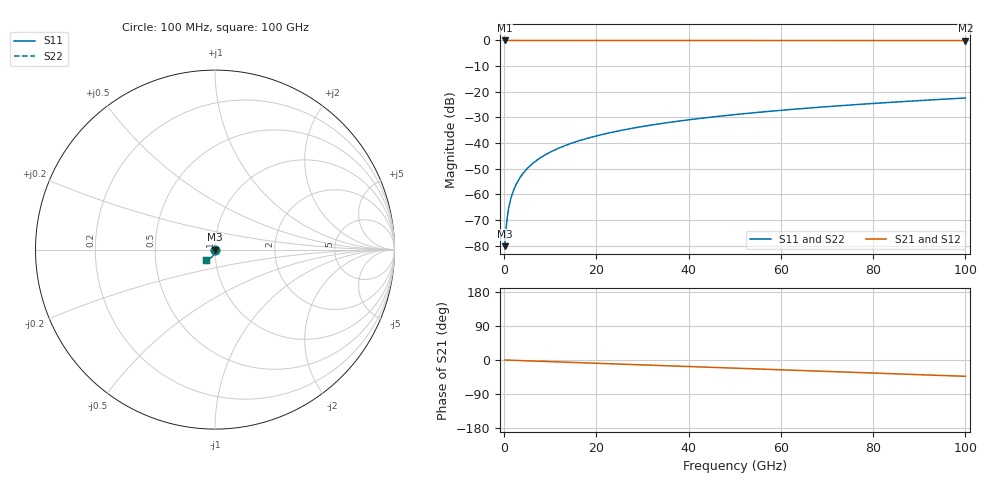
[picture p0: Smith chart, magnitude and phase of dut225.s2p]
! Touchstone file exported from HFSS 2026.1.0
!  File:  C:/ffzhzh/LocalFiles/Ansys_Project_Files/temp_train_TSV_225_1783507885_41296.aedt
!  Generated:  06:52:40 PM Jul  8, 2026
!  Design:  TSV
!  Project:  temp_train_TSV_225_1783507885_41296
! Variables:
!  h_bsmrdl = 2um
!  h_ox = 20um
!  h_rdl = 5um
!  h_sub = 86.87um
!  h_tmrdl = 5um
!  h_tsv = 86.87um
!  h_via = 3um
!  l_bsmrdl = 300um
!  l_sub = 425.52um
!  l_tmrdl = 200um
!  m_sub = 200um
!  pitch = 46.78um
!  r_tsv = 12.76um
!  s_tmrdl = 10um
!  w_bsmrdl = 18um
!  w_sub = 500um
!  w_tmrdl = 12um
!  x_tsv_center1 = 206um
!  x_tsv_center2 = 524um
!  x_tsv_center3 = 736um
!  x_tsv_center4 = 1054um
!  x_tsv_center5 = 1266um
!  x_tsv_center6 = 1584um
# GHz S MA R 50.000000
! Terminal data exported
! Port[1] = TSV1_1_T1
! Port[2] = TSV1_1_T2
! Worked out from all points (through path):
!   1000 points, 100 MHz to 100 GHz, reference 50 ohm
!   highest |S21| = 0.00 dB at 100 MHz (marker M1); lowest = -0.1 dB at 100 GHz (marker M2)
!   group delay of S21, straight-line fit = 1.19 ps
!   lowest |S11| = -80.2 dB at 100 MHz (marker M3), VSWR 1.00, Z = 50 - j0.00237 ohm
!   |S11| at or under -10 dB: start of sweep to end of sweep
!   |S22| runs from -80.2 to -22.4 dB; largest |S21 - S12| = 4.4e-15
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0.1  9.827e-05 -13.9  0.9999 -0.0  0.9999 -0.0  9.827e-05 -13.9
! Gamma 0 0 0 0
! Port Impedance 50 0 50 0
0.4  0.0002058 -40.6  0.9998 -0.2  0.9998 -0.2  0.0002058 -40.6
0.8  0.0004301 -56.9  0.9998 -0.4  0.9998 -0.4  0.0004301 -56.9
1  0.0005511 -61.7  0.9997 -0.4  0.9997 -0.4  0.0005511 -61.7
1.3  0.000736 -66.5  0.9997 -0.6  0.9997 -0.6  0.000736 -66.5
1.6  0.0009237 -69.7  0.9997 -0.7  0.9997 -0.7  0.0009237 -69.8
2.1  0.001242 -73.3  0.9996 -0.9  0.9996 -0.9  0.001242 -73.3
2.6  0.001568 -75.6  0.9996 -1.1  0.9996 -1.1  0.001568 -75.6
3.3  0.002033 -77.9  0.9995 -1.4  0.9995 -1.4  0.002033 -77.9
4.1  0.002575 -79.9  0.9995 -1.8  0.9995 -1.8  0.002575 -79.9
5.1  0.00326 -81.7  0.9994 -2.2  0.9994 -2.2  0.00326 -81.7
6.2  0.00402 -83.3  0.9993 -2.7  0.9993 -2.7  0.00402 -83.4
9  0.005975 -86.3  0.9992 -3.9  0.9992 -3.9  0.005975 -86.3
12.5  0.008454 -89.0  0.999 -5.4  0.999 -5.4  0.008454 -89.0
16.8  0.01153 -91.8  0.9988 -7.2  0.9988 -7.2  0.01153 -91.8
24.1  0.01679 -95.9  0.9985 -10.4  0.9985 -10.4  0.01679 -95.9
33.4  0.02359 -100.6  0.9982 -14.3  0.9982 -14.3  0.02359 -100.7
41.2  0.02936 -104.4  0.9978 -17.7  0.9978 -17.7  0.02936 -104.4
50.1  0.03602 -108.6  0.9974 -21.5  0.9974 -21.5  0.03602 -108.6
66.7  0.04874 -116.2  0.9965 -28.6  0.9965 -28.6  0.04873 -116.3
83.4  0.06199 -123.8  0.9954 -35.9  0.9954 -35.9  0.06198 -123.9
100  0.07574 -131.4  0.994 -43.0  0.994 -43.0  0.07573 -131.5
